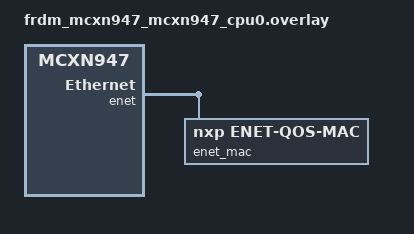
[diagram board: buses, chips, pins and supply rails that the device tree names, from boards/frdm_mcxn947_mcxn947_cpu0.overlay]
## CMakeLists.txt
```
# Copyright 2024, NXP
#
# SPDX-License-Identifier: Apache-2.0

cmake_minimum_required(VERSION 3.20.0)

# Add shields for displays and cameras
if("${BOARD}" MATCHES "mimxrt1060_evk")
	set(SHIELD dvp_fpc24_mt9m114;rk043fn66hs_ctg)
elseif("${BOARD}" MATCHES "frdm_mcxn947")
	set(SHIELD lcd_par_s035_8080)
endif()

find_package(Zephyr REQUIRED HINTS $ENV{ZEPHYR_BASE})
project(facialdetect)

list(APPEND app_sources src/main.c)

list(APPEND app_sources src/face_det.cpp)
FILE(GLOB model_sources src/model/*.cpp)
list(APPEND app_sources ${model_sources})
list(APPEND app_sources img/image_draw.c)
list(APPEND app_sources img/image_conv.c)

zephyr_include_directories(${CMAKE_CURRENT_SOURCE_DIR}/src/model)
set(TFLITE_DIR "${CMAKE_CURRENT_SOURCE_DIR}/../../../modules/lib/tflite-micro")
zephyr_include_directories(${TFLITE_DIR})
zephyr_include_directories(${TFLITE_DIR}/third_party/flatbuffers/include)
zephyr_include_directories(${TFLITE_DIR}/third_party/gemmlowp)
zephyr_include_directories(${TFLITE_DIR}/third_party/ruy)

add_library(libtflm STATIC IMPORTED GLOBAL)
if (DEFINED CONFIG_CPU_CORTEX_M7)
	set_target_properties(libtflm PROPERTIES IMPORTED_LOCATION ${TFLITE_DIR}/lib/cm7/armgcc/libtflm.a)
elseif (DEFINED CONFIG_CPU_CORTEX_M33)
	set_target_properties(libtflm PROPERTIES IMPORTED_LOCATION ${TFLITE_DIR}/lib/cm33/armgcc/libtflm.a)
else()
	message(FATAL_ERROR "libtflm.a for this core not supported")
endif()

if (DEFINED CONFIG_MCUX_HAS_NPU)
	zephyr_include_directories(${CMAKE_CURRENT_SOURCE_DIR}/src/model/model_npu)
	zephyr_include_directories(${TFLITE_DIR}/tensorflow/lite/micro/kernels/neutron)
	zephyr_include_directories(${TFLITE_DIR}/third_party/neutron/common/include)
	zephyr_include_directories(${TFLITE_DIR}/third_party/neutron/driver/include)

	FILE(GLOB modelnpu_sources src/model/model_npu/*.cpp)
	list(APPEND app_sources ${modelnpu_sources})
	list(APPEND app_sources src/model/model_npu/model_data.s)
	list(APPEND app_sources ${TFLITE_DIR}/tensorflow/lite/micro/kernels/neutron/neutron.cpp)

	add_library(libNeutronDriver STATIC IMPORTED GLOBAL)
	set_target_properties(libNeutronDriver PROPERTIES IMPORTED_LOCATION ${TFLITE_DIR}/third_party/neutron/mcxn/libNeutronDriver.a)
	add_library(libNeutronFirmware STATIC IMPORTED GLOBAL)
	set_target_properties(libNeutronFirmware PROPERTIES IMPORTED_LOCATION ${TFLITE_DIR}/third_party/neutron/mcxn/libNeutronFirmware.a)
	target_link_libraries(app PUBLIC libNeutronDriver libNeutronFirmware)
else() # CONFIG_MCUX_HAS_NPU not defined
	zephyr_include_directories(${CMAKE_CURRENT_SOURCE_DIR}/src/model/model_sw)

	FILE(GLOB modelsw_sources src/model/model_sw/*.cpp)
	list(APPEND app_sources ${modelsw_sources})
	list(APPEND app_sources img/image_resize_nearest.c)
endif() # CONFIG_MCUX_HAS_NPU
target_link_libraries(app PUBLIC libtflm)

zephyr_include_directories(${CMAKE_CURRENT_SOURCE_DIR}/img)
zephyr_include_directories(${CMAKE_CURRENT_SOURCE_DIR}/src/font)
list(APPEND app_sources src/display.c)
list(APPEND app_sources src/convert.c)

# # Add iotc-c-lib
zephyr_include_directories(${CMAKE_CURRENT_SOURCE_DIR}/../../../iotc-c-lib/core/include)
FILE(GLOB iotc_sources ${CMAKE_CURRENT_SOURCE_DIR}/../../../iotc-c-lib/core/src/*.c)
list(APPEND app_sources ${iotc_sources})

zephyr_include_directories(${CMAKE_CURRENT_SOURCE_DIR}/../../../iotc-c-lib/lib/cJSON/)
list(APPEND cjson_sources ${CMAKE_CURRENT_SOURCE_DIR}/../../../iotc-c-lib/lib/cJSON/cJSON.c)
list(APPEND app_sources ${cjson_sources})


target_compile_definitions(app PRIVATE TF_LITE_STATIC_MEMORY)
target_compile_options(app PRIVATE -Wno-psabi)
target_sources(app PRIVATE ${app_sources})

zephyr_code_relocate(FILES ${app_sources} LOCATION RAM1)
```

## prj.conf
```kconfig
#
# Copyright 2024, NXP
#
# SPDX-License-Identifier: Apache-2.0
#

CONFIG_APP_LOG_LEVEL=3

CONFIG_DISPLAY=y
CONFIG_DISPLAY_LOG_LEVEL_ERR=y
CONFIG_VIDEO=y

CONFIG_LOG=y
CONFIG_SHELL=y
CONFIG_DEVICE_SHELL=y
CONFIG_PRINTK=y
CONFIG_THREAD_RUNTIME_STATS=y
CONFIG_SCHED_THREAD_USAGE=y
CONFIG_STD_CPP11=y

CONFIG_BUILD_OUTPUT_HEX=y

CONFIG_HEAP_MEM_POOL_SIZE=16384
CONFIG_NO_OPTIMIZATIONS=n
CONFIG_MAIN_STACK_SIZE=16000
CONFIG_IDLE_STACK_SIZE=1024
CONFIG_ISR_STACK_SIZE=8096

CONFIG_CPP=y
CONFIG_REQUIRES_FULL_LIBCPP=y
CONFIG_FPU=y
CONFIG_FP_HARDABI=y

# using Picolib has errors compiling C++ math
CONFIG_NEWLIB_LIBC=y






CONFIG_NETWORKING=y
CONFIG_NET_IPV6=n
CONFIG_NET_IPV4=y
CONFIG_NET_ARP=y
CONFIG_NET_UDP=y
CONFIG_NET_DHCPV4=y
CONFIG_NET_DHCPV4_OPTION_CALLBACKS=y
CONFIG_DNS_RESOLVER=y

CONFIG_TEST_RANDOM_GENERATOR=y

CONFIG_INIT_STACKS=y

CONFIG_NET_MGMT=y
CONFIG_NET_MGMT_EVENT=y

CONFIG_NET_LOG=y
CONFIG_LOG=y

CONFIG_SLIP_STATISTICS=n
CONFIG_NET_SHELL=y

CONFIG_STD_C99=n
CONFIG_STD_C11=y
CONFIG_REQUIRES_FULL_LIBC=y
CONFIG_PICOLIBC=n
CONFIG_NEWLIB_LIBC=y
# CONFIG_HAS_NEWLIB_LIBC_NANO=n
```

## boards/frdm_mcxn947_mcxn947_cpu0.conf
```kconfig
#
# Copyright 2024, NXP
#
# SPDX-License-Identifier: Apache-2.0
#

CONFIG_MCUX_HAS_NPU=y

# Workaround for issue where SDMA driver needs to start before camera, so that
# clock output will be generated for camera device
CONFIG_CHECK_INIT_PRIORITIES=n

CONFIG_HEAP_MEM_POOL_SIZE=41000

# Buffer size 320W x 15H x 2BPP x 2(SmartDMA) + 36
CONFIG_VIDEO_BUFFER_POOL_SZ_MAX=19236
CONFIG_VIDEO_BUFFER_POOL_NUM_MAX=3

CONFIG_CODE_DATA_RELOCATION=y
```

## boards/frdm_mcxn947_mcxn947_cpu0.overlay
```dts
/*
 * Copyright 2024, NXP
 *
 * SPDX-License-Identifier: Apache-2.0
 */

/* Resize SRAMX to avoid memory used by SmartDMA firmware */
/delete-node/ &sramx;

/ {
	chosen {
		zephyr,camera = &video_sdma;

		/* Use buffer for model to stitch camera slices together.
		 * Place model buffer in SRAMX */
		zephyr,modelbuf = &sramx;
	};
};

/*
	[VLAD] change required only on out network.
	changing mac form randomised one to preset.
*/
/delete-node/ &enet_mac;
&enet {
	enet_mac {
		compatible = "nxp,enet-qos-mac";
		status = "okay";
		interrupts = < 0x8b 0x0 >, < 0x8c 0x0 >, < 0x8d 0x0 >;
		interrupt-names = "mac", "power", "lpi";
		phy-connection-type = "rmii";
		local-mac-address = [ae 9a 22 4a cb 15];
		phy-handle = < &phy >;
	};
};


#if 1

/* Moved SJ16 and SJ26 jumpers from default connection, soldered wire to P1_4 to left side of R58 resistor */
/* Move I2c pins from P3_2, P3_3 to P3_8, P3_7
/* Move Camera  P1_4, P1_5, P1_6, P1_7 to P3_0, P3_1, P3_2, P3_3 */

&pinctrl {

	pinmux_flexcomm7_lpi2c: pimux_flexcomm7_lpi2c {
		group0 {
			pinmux = <FC7_P0_PIO3_8>,
				<FC7_P1_PIO3_7>;
			slew-rate = "fast";
			drive-strength = "low";
			input-enable;
			bias-pull-up;
			drive-open-drain;
		};
	};

	pinmux_smartdma_camera: pinmux_smartdma_camera {
		group0 {
			pinmux = <N9X_MUX('3',0,7)>,
				<N9X_MUX('3',1,7)>,
				<N9X_MUX('3',2,7)>,
				<N9X_MUX('3',3,7)>,
				<N9X_MUX('3',4,7)>,
				<N9X_MUX('3',5,7)>,
				<N9X_MUX('1',10,7)>,
				<N9X_MUX('1',11,7)>,
				<PIO0_4>,
				<PIO0_5>,
				<PIO0_11>,
				<CLKOUT_PIO2_2>,
				<CLKOUT_PIO0_6>;
			drive-strength = "low";
			slew-rate = "fast";
			input-enable;
		};
	};

};
#endif

#if 0
&video_sdma{
	status="disabled";
};
#endif

&sram0 {
	/* Increase size of SRAM region */
	reg = < 0x20000000 DT_SIZE_K(408) >;
};

&sram {
	sramx: memory@4000800 {
		compatible = "zephyr,memory-region", "mmio-sram";
		/* Avoid SRAMX memory used by SmartDMA firmware */
		reg = < 0x4000800  DT_SIZE_K(94) >;
		zephyr,memory-region = "SRAM1";
		zephyr,memory-attr = <( DT_MEM_ARM(ATTR_MPU_RAM) )>;
	};
};

/* Rotate the display to portrait mode */
&st7796s {
	madctl = <0x88>;
	height = <480>;
	width = <320>;
};
```

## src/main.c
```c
/*
 * Copyright 2024, NXP
 * Copyright (c) 2019 Linaro Limited, for sample:
 *    https://github.com/zephyrproject-rtos/zephyr/blob/main/samples/subsys/video/capture/src/main.c
 *
 * Copyright (c) 2019 Jan Van Winkel <jan.van_winkel@dxplore.eu>, for sample:
 *    https://github.com/zephyrproject-rtos/zephyr/blob/main/samples/drivers/display/src/main.c
 *
 * Based on ST7789V sample:
 *    Copyright (c) 2019 Marc Reilly
 *
 * SPDX-License-Identifier: Apache-2.0
 *
 * Application Overview:
 * The main thread runs in a loop, dequeuing buffers from the video driver,
 * formatting and writing to the display, then resizing and sending to the
 * inference model for object detection.  If detected, the model returns
 * coordinates of the object, and rectangles are drawn for the display.
 * Inferencing is done in a separate thread, giving priority to updating the
 * display.
 * 
 * on MCX N947:
 * This SOC provides some challenge due to the limited RAM available.  The
 * LCD-PAR-S035 display is oriented in portrait mode to align with the camera.
 * To conserve RAM, the camera frame is shown on the upper half of the display,
 * at 320 x 240.  The lower half displays text, and is only updated with new
 * inference results.
 * 
 * To conserve RAM, the video driver buffers are partial slices of the full frame.
 * This reduces the buffer size required.  The video driver reports the number
 * of slices in a frame in caps.vbuf_per_frame.  And each buffer dequeued
 * provides frame_idx for that slice.  The LCD-PAR-S035 module is a smart
 * display, and partial frames can be written directly to the display.  Then
 * the slice buffer is copied to the input buffer for the model and converted to
 * RGB888.  That input is also resized for the model.  The rectangles are also
 * drawn on the slices, using the same video slice buffers before they are
 * written to the display.  To provide a cleaner look, the rectangle locations
 * are only changed at the start of a new frame.  And the previous rectangles
 * are "erased" completely before drawing new rectangles.
 * 
 * on RT1060:
 * This platform is easier with a large SDRAM, and plenty of room for buffers.
 * The video driver provides full frame buffers.  These are converted using the
 * PXP to flip the image horizontally, like looking in a mirror.  On this display,
 * the text is displayed in a banner at the bottom of the display, and the results
 * are updated from the inference.  The bottom of the full video buffer is
 * excluded when writing to the display, since the banner is drawn there.  After
 * writing to the display, the same buffer is passed to the inference thread. A
 * queue is used when passing this buffer.  The inference thread will get the
 * most recent buffer in that queue, and return any other buffers in that queue
 * to the video driver.  Rectangles are easier on this platform since the video
 * and display driver use a full frame.  If detected, the full rectangles are
 * drawn on each frame, and location updated after a new inference result.
 */

#include <zephyr/logging/log.h>

#include <zephyr/kernel.h>
#include <zephyr/linker/sections.h>
#include <zephyr/device.h>
#include <zephyr/devicetree.h>
#include <errno.h>
#include <stdio.h>

#include <zephyr/net/net_if.h>
#include <zephyr/net/net_core.h>
#include <zephyr/net/net_context.h>
#include <zephyr/net/net_mgmt.h>


#include "FacialDetect.h"

#ifdef CONFIG_LOG
#define LOG_LEVEL CONFIG_LOG_DEFAULT_LEVEL
#include <zephyr/logging/log.h>
LOG_MODULE_REGISTER(app, CONFIG_APP_LOG_LEVEL);
#endif /* CONFIG_LOG */

struct display_buffer_descriptor strbuf_desc;

#include <zephyr/drivers/display.h>
#include <zephyr/drivers/video.h>
#include "display_app.h"
#include "convert.h"

const struct device *display_dev;

volatile static uint32_t __attribute((aligned(4))) vbuf_idx = 0;

#include "model.h"

K_THREAD_STACK_DEFINE(inf_thread_stack_area, THREAD_INF_STACKSIZE);
static struct k_thread inf_thread_data;

struct k_fifo inf_fifo;  /* FIFO for buffers to inference */

#define DHCP_OPTION_NTP (42)

static uint8_t ntp_server[4];

static struct net_mgmt_event_callback mgmt_cb;

static struct net_dhcpv4_option_callback dhcp_cb;

static void start_dhcpv4_client(struct net_if *iface, void *user_data)
{
	ARG_UNUSED(user_data);

	LOG_INF("Start on %s: index=%d", net_if_get_device(iface)->name,
		net_if_get_by_iface(iface));
	net_dhcpv4_start(iface);
}

static void handler(struct net_mgmt_event_callback *cb,
		    uint32_t mgmt_event,
		    struct net_if *iface)
{
	int i = 0;

	if (mgmt_event != NET_EVENT_IPV4_ADDR_ADD) {
		return;
	}

	for (i = 0; i < NET_IF_MAX_IPV4_ADDR; i++) {
		char buf[NET_IPV4_ADDR_LEN];

		if (iface->config.ip.ipv4->unicast[i].ipv4.addr_type !=
							NET_ADDR_DHCP) {
			continue;
		}

		LOG_INF("   Address[%d]: %s", net_if_get_by_iface(iface),
			net_addr_ntop(AF_INET,
			    &iface->config.ip.ipv4->unicast[i].ipv4.address.in_addr,
						  buf, sizeof(buf)));
		LOG_INF("    Subnet[%d]: %s", net_if_get_by_iface(iface),
			net_addr_ntop(AF_INET,
				       &iface->config.ip.ipv4->unicast[i].netmask,
				       buf, sizeof(buf)));
		LOG_INF("    Router[%d]: %s", net_if_get_by_iface(iface),
			net_addr_ntop(AF_INET,
						 &iface->config.ip.ipv4->gw,
						 buf, sizeof(buf)));
		LOG_INF("Lease time[%d]: %u seconds", net_if_get_by_iface(iface),
			iface->config.dhcpv4.lease_time);
	}
}

static void option_handler(struct net_dhcpv4_option_callback *cb,
			   size_t length,
			   enum net_dhcpv4_msg_type msg_type,
			   struct net_if *iface)
{
	char buf[NET_IPV4_ADDR_LEN];

	LOG_INF("DHCP Option %d: %s", cb->option,
		net_addr_ntop(AF_INET, cb->data, buf, sizeof(buf)));
}


#include "iotcl.h"
#include "iotcl_util.h"
#include "iotcl_telemetry.h"


static void my_transport_send(const char *topic, size_t topic_len, const char *json_str) {
    // example mqtt hook:
    // mqtt_client_send(topic, topic_len, json_str, strlen(json_str)); 
}

static void iotcl_telemetry_example_entry(void) {
	printk("IOTC ENTER\r\n");

    IotclClientConfig config;
    iotcl_init_client_config(&config);
    config.device.instance_type = IOTCL_DCT_AWS_DEDICATED;
    config.device.duid = "mydevice";
    config.mqtt_send_cb = my_transport_send;
    iotcl_init(&config);
    
    // mqtt_client_connect(...); // connect using your client
    
    // subscribe to the C2D topic:
    IotclDeviceConfig *c = iotcl_mqtt_get_config();

    // subscribe to the topic using your mqtt client. In this example, the subscribing mechanism
    // is a callback function which will be called when the MQTT client receives data.
    // mqtt_client_subscribe(c->sub_c2d, on_mqtt_client_topic_data);
    
    // while (mqtt_client_is_connected()) {
    //     // In this example we are using an mqtt client that needs periodic polling.
    //     // polling will trigger the configured on_mqtt_client_topic_data() callback.
    //     mqtt_client_loop_and_poll();
        
    //     IotclMessageHandle msg = iotcl_telemetry_create();
    //     if (!msg) {
    //         // ran out of memory, but the library will print the error
    //         // Add application-level handling here
    //         return;        
    //     }

    //     // if (somesensor_is_ready()) {
    //         iotcl_telemetry_set_string(msg, "status", "Ready");
        
    //         // DECIMAL, INTEGER and similar types:
    //         iotcl_telemetry_set_number(msg, "temperature", 1);
            
    //         // Setting OBJECT type values for "accelerometer" object with numeric values
    //         iotcl_telemetry_set_number(msg, "accelerometer.x", 1);
    //         iotcl_telemetry_set_number(msg, "accelerometer.y", 1);
    //         iotcl_telemetry_set_number(msg, "accelerometer.z", 1);
    //     // } else {
    //     //     iotcl_telemetry_set_string(msg, "status", "Starting");
        
    //     //     // You can set null to indicate that the value not available so graphs will show a gap
    //     //     iotcl_telemetry_set_null(msg, "temperature", 1);
    //     // }

    //     k_msleep(1000);
    // }
    
    iotcl_deinit();
}


int main(void)
{
	LOG_INF("Run dhcpv4 client");

	net_mgmt_init_event_callback(&mgmt_cb, handler,
				     NET_EVENT_IPV4_ADDR_ADD);
	net_mgmt_add_event_callback(&mgmt_cb);

	net_dhcpv4_init_option_callback(&dhcp_cb, option_handler,
					DHCP_OPTION_NTP, ntp_server,
					sizeof(ntp_server));

	net_dhcpv4_add_option_callback(&dhcp_cb);

	net_if_foreach(start_dhcpv4_client, NULL);

	printk("Zephyr Facial Detection Demo\r\n");
	printk("Model: %s\r\n", MODEL_GetModelName());

	iotcl_telemetry_example_entry();

	struct video_buffer *buffers[CONFIG_VIDEO_BUFFER_POOL_NUM_MAX], *vbuf;
	struct display_buffer_descriptor buf_desc;
	void *convdisp_buf = NULL;
	rect_buf_params_t rect_params;

	display_dev = DEVICE_DT_GET(DT_CHOSEN(zephyr_display));
	if (!device_is_ready(display_dev)) {
		LOG_ERR("Device not ready, aborting test");
		return -1;
	}

	if (convdisp_init(DT_PROP(DT_CHOSEN(zephyr_display), width),
		DT_PROP(DT_CHOSEN(zephyr_display), height))) {
		LOG_ERR("convdisp_init() failed\n");
		return -1;
	}

	const struct device *const video = DEVICE_DT_GET(DT_CHOSEN(zephyr_camera));

	if (!device_is_ready(video)) {
		LOG_ERR("%s: device not ready.\n", video->name);
		return -1;
	}

	int i = 0;
	unsigned int frame = 0;

	LOG_DBG("- Device name: %s\n", video->name);

	/* Get capabilities */
	struct video_caps caps;
	if (video_get_caps(video, VIDEO_EP_OUT, &caps)) {
		LOG_ERR("Unable to retrieve video capabilities");
		return -1;
	}

	LOG_DBG("- Capabilities:\n");
	while (caps.format_caps[i].pixelformat) {
		const struct video_format_cap *fcap = &caps.format_caps[i];
		/* fourcc to string */
		LOG_DBG("  %c%c%c%c width [%u; %u; %u] height [%u; %u; %u]\n",
		       (char)fcap->pixelformat,
		       (char)(fcap->pixelformat >> 8),
		       (char)(fcap->pixelformat >> 16),
		       (char)(fcap->pixelformat >> 24),
		       fcap->width_min, fcap->width_max, fcap->width_step,
		       fcap->height_min, fcap->height_max, fcap->height_step);
		i++;
	}

	/* Get default/native format */
	struct video_format fmt;
	if (video_get_format(video, VIDEO_EP_OUT, &fmt)) {
		LOG_ERR("Unable to retrieve video format");
		return -1;
	}

	LOG_DBG("- Default format: %c%c%c%c %ux%u\n", (char)fmt.pixelformat,
	       (char)(fmt.pixelformat >> 8),
	       (char)(fmt.pixelformat >> 16),
	       (char)(fmt.pixelformat >> 24),
	       fmt.width, fmt.height);

	/* Size to allocate for each buffer */
	size_t bsize;
	bsize = fmt.pitch * fmt.height / caps.vbuf_per_frame;

	/* Alloc video buffers and enqueue for capture */
	for (i = 0; i < ARRAY_SIZE(buffers); i++) {
		buffers[i] = video_buffer_alloc(bsize);
		if (buffers[i] == NULL) {
			LOG_ERR("Unable to alloc video buffer");
			return -1;
		}

		video_enqueue(video, VIDEO_EP_OUT, buffers[i]);
	}

	/* configure display buffer */
	uint16_t y_step;

	y_step = fmt.height / caps.vbuf_per_frame;
	buf_desc.buf_size = bsize;
	buf_desc.width = fmt.width;
	buf_desc.pitch = fmt.width;
	buf_desc.height = y_step;
	#ifdef CONFIG_APP_DISPLAY_BANNER
		buf_desc.height -= BANNER_HEIGHT;
	#endif

	/* use a video buffer to initially draw the display brackground */
	display_background(buffers[0]->buffer);

	/* Start video capture */
	if (video_stream_start(video)) {
		LOG_ERR("Unable to start capture (interface)");
		return -1;
	}

	LOG_DBG("Capture started\n");

	/* Create inference thread */
	inf_thread_config_t inf_config;

	inf_config.frameWidth = fmt.width;
	inf_config.fullFrameHeight = fmt.height;
	inf_config.singleFrameHeight = buf_desc.height;

	k_fifo_init(&inf_fifo);

	k_thread_create(&inf_thread_data, inf_thread_stack_area,
		K_THREAD_STACK_SIZEOF(inf_thread_stack_area),
		inference_thread, &inf_config, &inf_fifo, NULL,
		THREAD_PRIORITY_INF, 0, K_FOREVER);
	k_thread_name_set(&inf_thread_data, "inference_thread");

	uint8_t inf_frame_count = 0;
	bool inference_enabled = false;

	inf_results_t infResults;
	inf_results_t *frame_infResults;
	if (caps.vbuf_per_frame > 1U) {
		/* Inference results are synced at the start of each full video
		 * frame, to keep rectangles consistent in that frame.  Display
		 * will use the local copy of the results. */
		frame_infResults = &infResults;
	} else {
		/* When video provides full frame, display can use the global
		 * inference results, and avoid copying the results every frame */
		frame_infResults = &g_InfResults;
	}

	rect_params.width = buf_desc.width;
	rect_params.height = buf_desc.height;
	rect_params.slices_per_frame = caps.vbuf_per_frame;

	while (1) {
		int err;

		/* Grab video frames */
		err = video_dequeue(video, VIDEO_EP_OUT, &vbuf, K_FOREVER);
		if (err) {
			LOG_ERR("Unable to dequeue video buf");
			return -1;
		}

		LOG_DBG("\rGot frame %u! size: %u; timestamp %u ms",
		       frame++, vbuf->bytesused, vbuf->timestamp);

		convdisp(vbuf->buffer, (uint8_t **) &convdisp_buf,
			vbuf->bytesused, K_FOREVER);

		if(caps.vbuf_per_frame > 1) {
			if(vbuf->frame_idx == 0) {
				sync_slice_rectangles(frame_infResults);
			}
		#if DT_HAS_CHOSEN(zephyr_modelbuf)
			copy_slice_to_model_input(vbuf->frame_idx,
				(uint32_t) convdisp_buf, fmt.width, y_step,
				caps.vbuf_per_frame);
		#endif /* #if DT_HAS_CHOSEN(zephyr_modelbuf) */
		}

		rect_params.buf = (uint16_t *) convdisp_buf;
		rect_params.frame_idx = vbuf->frame_idx;
		display_rectangles(&rect_params, frame_infResults);

		/* Write the video buffer out to the display */
		display_write(display_dev, 0, y_step * vbuf->frame_idx, &buf_desc, convdisp_buf);

		if(inference_enabled) {
			/* wake inf_thread if it is waiting for buffer */
			k_fifo_alloc_put(&inf_fifo, convdisp_buf);
		} else {
			if(inf_frame_count >= caps.vbuf_per_frame) {
				/* wait for first full frame before starting
				 * inference thread */
				k_fifo_alloc_put(&inf_fifo, convdisp_buf);
				k_thread_start(&inf_thread_data);
				inference_enabled = true;
			} else {
				inf_frame_count++;
				/* free buffer for next conversion */
				convdisp_enqueue(convdisp_buf);
			}
		}

		/* vbuf already used, re-use this buffer to write results to
		 * display, before giving back to video driver. */
		display_results((uint16_t *)vbuf->buffer);

		err = video_enqueue(video, VIDEO_EP_OUT, vbuf);
		if (err) {
			LOG_ERR("Unable to requeue video buf");
			return -1;
		}
	}
}
```
